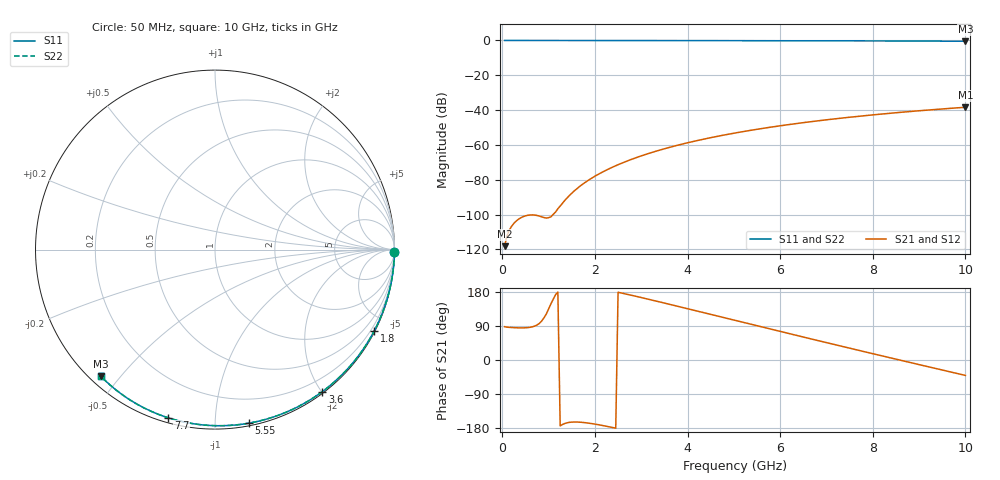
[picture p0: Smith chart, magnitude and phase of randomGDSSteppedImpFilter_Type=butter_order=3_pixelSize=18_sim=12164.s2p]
! freq	dB(S11)	phase(S11)	dB(S12)	phase(S12)
!  dB(S21)	phase(S21)	dB(S22)	phase(S22)
!S-par simulation data
#  GHz  S  DB  R 50
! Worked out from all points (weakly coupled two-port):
!   200 points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, 50 MHz to 10 GHz, reference 50 ohm
!   highest |S21| = -38.36 dB at 10 GHz (marker M1); lowest = -118.1 dB at 50 MHz (marker M2)
!   lowest |S11| = -0.4 dB at 10 GHz (marker M3), VSWR 38.96, Z = 1.54 - j22.2 ohm
!   |S11| at or under -10 dB: nowhere
!   |S22| runs from -0.4 to 0.0 dB; largest |S21 - S12| = 0
!   S11 on the Smith chart (normalised r, x): 50 MHz: open; 1.8 GHz: 0.04, -4.15; 3.6 GHz: 0.02, -2.01; 5.55 GHz: 0.02, -1.21; 7.7 GHz: 0.02, -0.76; 10 GHz: 0.03, -0.44
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0.05  -0.00 -0.8  -118.12 87.9  -118.12 87.9  -0.00 -0.8
0.9  -0.02 -13.7  -101.69 111.4  -101.69 111.4  -0.02 -13.7
1.75  -0.03 -26.3  -82.24 -164.9  -82.24 -164.9  -0.03 -26.3
1.8  -0.03 -27.1  -81.30 -165.6  -81.30 -165.6  -0.03 -27.1
1.85  -0.04 -27.8  -80.42 -166.3  -80.42 -166.3  -0.04 -27.8
1.9  -0.04 -28.5  -79.56 -167.2  -79.56 -167.2  -0.04 -28.5
2.05  -0.04 -30.7  -77.18 -170.2  -77.18 -170.2  -0.04 -30.7
2.25  -0.04 -33.7  -74.38 -174.8  -74.38 -174.8  -0.04 -33.6
2.45  -0.05 -36.6  -71.91 -179.9  -71.91 -179.9  -0.05 -36.6
2.65  -0.05 -39.5  -69.69 174.7  -69.69 174.7  -0.05 -39.4
3  -0.06 -44.5  -66.28 164.8  -66.28 164.8  -0.06 -44.5
3.4  -0.07 -50.1  -62.94 153.2  -62.94 153.2  -0.07 -50.1
3.6  -0.07 -52.9  -61.45 147.3  -61.45 147.3  -0.07 -52.9
4.3  -0.09 -62.5  -56.95 126.4  -56.95 126.4  -0.09 -62.5
5.05  -0.11 -72.5  -53.02 103.9  -53.02 103.9  -0.11 -72.5
5.55  -0.13 -79.0  -50.79 88.9  -50.79 88.9  -0.13 -79.0
6.1  -0.15 -86.0  -48.62 72.5  -48.62 72.5  -0.15 -86.0
6.7  -0.18 -93.5  -46.52 54.7  -46.52 54.7  -0.18 -93.4
7.7  -0.24 -105.5  -43.53 25.3  -43.53 25.3  -0.24 -105.5
8.35  -0.29 -113.1  -41.86 6.5  -41.86 6.5  -0.29 -113.1
9.15  -0.36 -122.4  -40.04 -16.4  -40.04 -16.4  -0.36 -122.3
10  -0.45 -132.0  -38.36 -40.6  -38.36 -40.6  -0.45 -131.9
